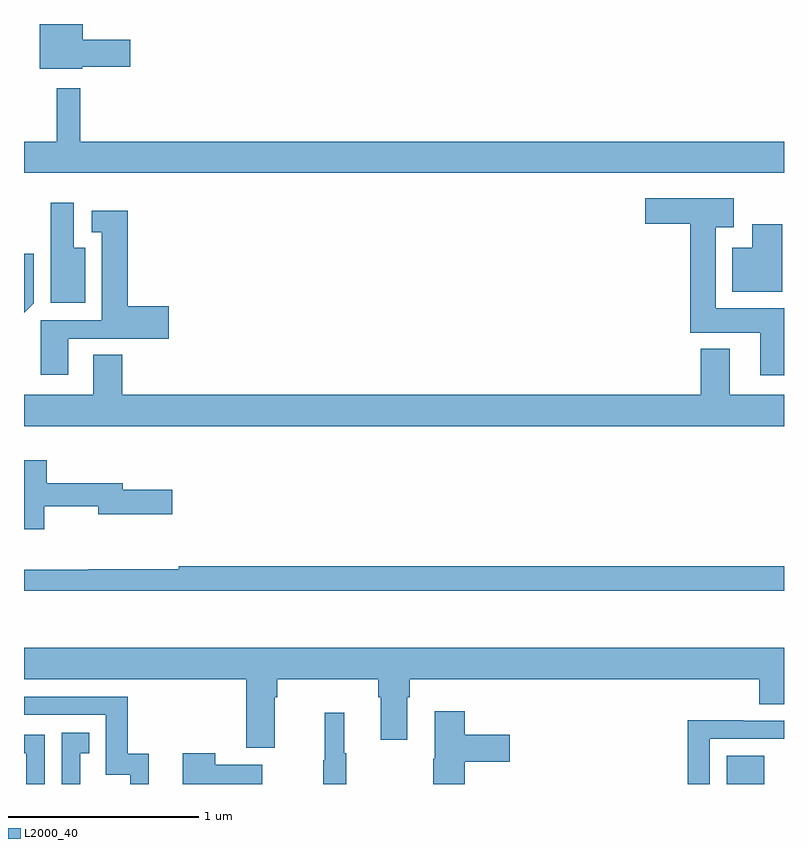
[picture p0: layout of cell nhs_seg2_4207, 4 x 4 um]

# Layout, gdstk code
import gdstk
lib = gdstk.Library(unit=1e-6, precision=1e-09)
def R(c, l, rs):  # rectangles x0, y0, x1, y1
    for r in rs: c.add(gdstk.rectangle(r[:2], r[2:], *l))
def P(c, l, *ps):  # polygons
    for p in ps: c.add(gdstk.Polygon(p, *l))
L2000_40 = (2000, 40)

nhs_seg2_4207 = lib.new_cell('nhs_seg2_4207')
R(nhs_seg2_4207, L2000_40, [(342.698,597.8,342.895,597.949)])
P(nhs_seg2_4207, L2000_40, [(339.306,601.576),(339.559,601.576),(339.559,601.718),(339.31,601.718),(339.31,601.8),(339.083,601.8),(339.083,601.565),(339.306,601.565)],
  [(339.173,601.462),(339.173,601.18),(339,601.18),(339,601.016),(343,601.016),(343,601.18),(339.295,601.18),(339.295,601.462)],
  [(343,600.304),(342.64,600.304),(342.64,600.731),(342.736,600.731),(342.736,600.883),(342.27,600.883),(342.27,600.749),(342.506,600.749),(342.506,600.176),(342.875,600.176),(342.875,599.952),(343,599.952)],
  [(339.322,600.622),(339.262,600.622),(339.262,600.859),(339.14,600.859),(339.14,600.332),(339.322,600.332)],
  [(339.232,600.144),(339.501,600.144),(339.501,600.143),(339.763,600.143),(339.763,600.314),(339.545,600.314),(339.545,600.817),(339.357,600.817),(339.357,600.704),(339.41,600.704),(339.41,600.24),(339.089,600.24),(339.089,599.955),(339.232,599.955)],
  [(342.991,600.745),(342.833,600.745),(342.833,600.622),(342.728,600.622),(342.728,600.392),(342.991,600.392)],
  [(339.051,600.33),(339.051,600.592),(339,600.592),(339,600.279)],
  [(343,599.848),(342.715,599.848),(342.715,600.091),(342.563,600.091),(342.563,599.848),(339.518,599.848),(339.518,600.058),(339.365,600.058),(339.365,599.848),(339,599.848),(339,599.684),(343,599.684)],
  [(339.106,599.262),(339.392,599.262),(339.392,599.219),(339.781,599.219),(339.781,599.349),(339.52,599.349),(339.52,599.383),(339.119,599.383),(339.119,599.503),(339,599.503),(339,599.142),(339.106,599.142)],
  [(343,598.946),(339.814,598.946),(339.814,598.931),(339.341,598.931),(339.341,598.928),(339,598.928),(339,598.818),(343,598.818)],
  [(340.321,598.256),(340.334,598.256),(340.334,598.352),(340.865,598.352),(340.865,598.256),(340.877,598.256),(340.877,598.032),(341.017,598.032),(341.017,598.256),(341.03,598.256),(341.03,598.352),(342.869,598.352),(342.869,598.219),(343,598.219),(343,598.516),(339,598.516),(339,598.352),(340.169,598.352),(340.169,597.99),(340.321,597.99)],
  [(339.656,597.958),(339.545,597.958),(339.545,598.26),(339,598.26),(339,598.164),(339.429,598.164),(339.429,597.849),(339.558,597.849),(339.558,597.8),(339.656,597.8)],
  [(341.321,597.917),(341.557,597.917),(341.557,598.059),(341.321,598.059),(341.321,598.183),(341.162,598.183),(341.162,597.933),(341.155,597.933),(341.155,597.8),(341.321,597.8)],
  [(340.696,597.961),(340.685,597.961),(340.685,598.174),(340.582,598.174),(340.582,597.924),(340.575,597.924),(340.575,597.8),(340.696,597.8)],
  [(342.609,598.038),(343,598.038),(343,598.134),(342.785,598.134),(342.785,598.136),(342.493,598.136),(342.493,597.8),(342.609,597.8)],
  [(339.295,597.963),(339.344,597.963),(339.344,598.069),(339.198,598.069),(339.198,597.8),(339.295,597.8)],
  [(339.108,598.059),(339,598.059),(339,597.962),(339.012,597.962),(339.012,597.8),(339.108,597.8)],
  [(340.255,597.901),(340.007,597.901),(340.007,597.961),(339.836,597.961),(339.836,597.8),(340.255,597.8)])

lib.write_gds('nhs_seg2_4207.gds')
